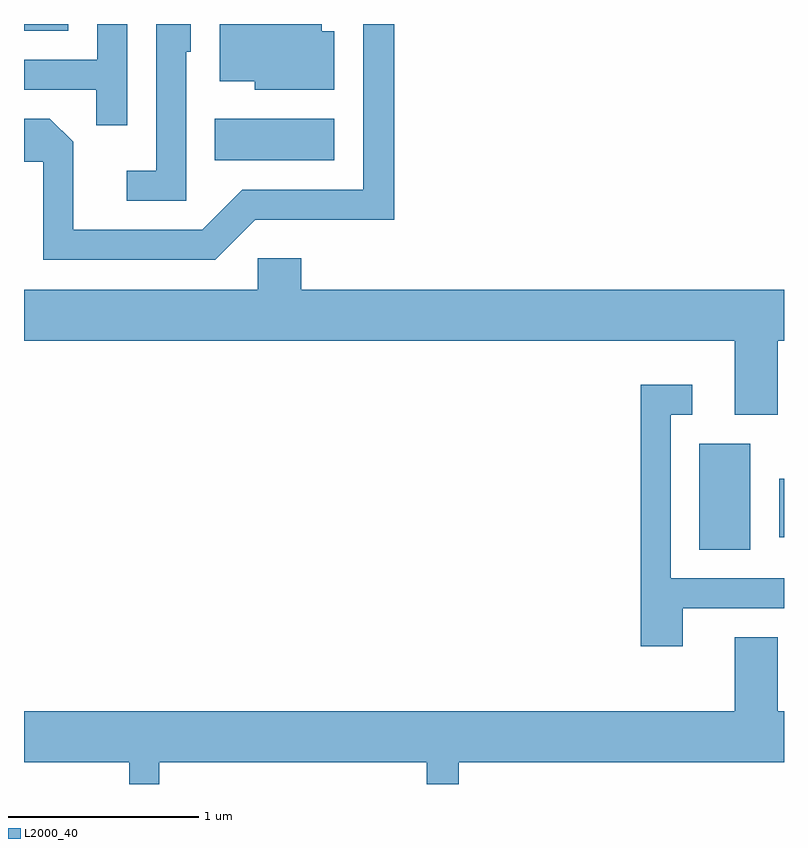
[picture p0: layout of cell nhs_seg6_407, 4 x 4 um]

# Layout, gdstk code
import gdstk
lib = gdstk.Library(unit=1e-6, precision=1e-09)
def R(c, l, rs):  # rectangles x0, y0, x1, y1
    for r in rs: c.add(gdstk.rectangle(r[:2], r[2:], *l))
def P(c, l, *ps):  # polygons
    for p in ps: c.add(gdstk.Polygon(p, *l))
L2000_40 = (2000, 40)

nhs_seg6_407 = lib.new_cell('nhs_seg6_407')
R(nhs_seg6_407, L2000_40, [(201.166,1533.396,201.434,1533.954), (201.586,1533.461,201.611,1533.769), (198.616,1535.446,199.244,1535.664), (197.611,1536.126,197.844,1536.162)])
P(nhs_seg6_407, L2000_40, [(198.154,1536.162),(197.996,1536.162),(197.996,1535.974),(197.611,1535.974),(197.611,1535.816),(197.991,1535.816),(197.991,1535.628),(198.154,1535.628)],
  [(199.244,1536.124),(199.179,1536.124),(199.179,1536.162),(198.641,1536.162),(198.641,1535.861),(198.826,1535.861),(198.826,1535.816),(199.244,1535.816)],
  [(198.464,1536.016),(198.489,1536.016),(198.489,1536.162),(198.306,1536.162),(198.306,1535.389),(198.153,1535.389),(198.153,1535.231),(198.464,1535.231)],
  [(198.827,1535.131),(199.559,1535.131),(199.559,1536.162),(199.396,1536.162),(199.396,1535.289),(198.759,1535.289),(198.549,1535.079),(197.869,1535.079),(197.869,1535.542),(197.747,1535.664),(197.611,1535.664),(197.611,1535.436),(197.711,1535.436),(197.711,1534.921),(198.617,1534.921)],
  [(201.579,1534.496),(201.611,1534.496),(201.611,1534.764),(199.069,1534.764),(199.069,1534.929),(198.841,1534.929),(198.841,1534.764),(197.611,1534.764),(197.611,1534.496),(201.351,1534.496),(201.351,1534.106),(201.579,1534.106)],
  [(201.079,1533.086),(201.611,1533.086),(201.611,1533.244),(201.014,1533.244),(201.014,1534.106),(201.128,1534.106),(201.128,1534.264),(200.856,1534.264),(200.856,1532.886),(201.079,1532.886)],
  [(198.324,1532.276),(199.731,1532.276),(199.731,1532.162),(199.899,1532.162),(199.899,1532.276),(201.611,1532.276),(201.611,1532.544),(201.579,1532.544),(201.579,1532.934),(201.351,1532.934),(201.351,1532.544),(197.611,1532.544),(197.611,1532.276),(198.166,1532.276),(198.166,1532.162),(198.324,1532.162)])

lib.write_gds('nhs_seg6_407.gds')
